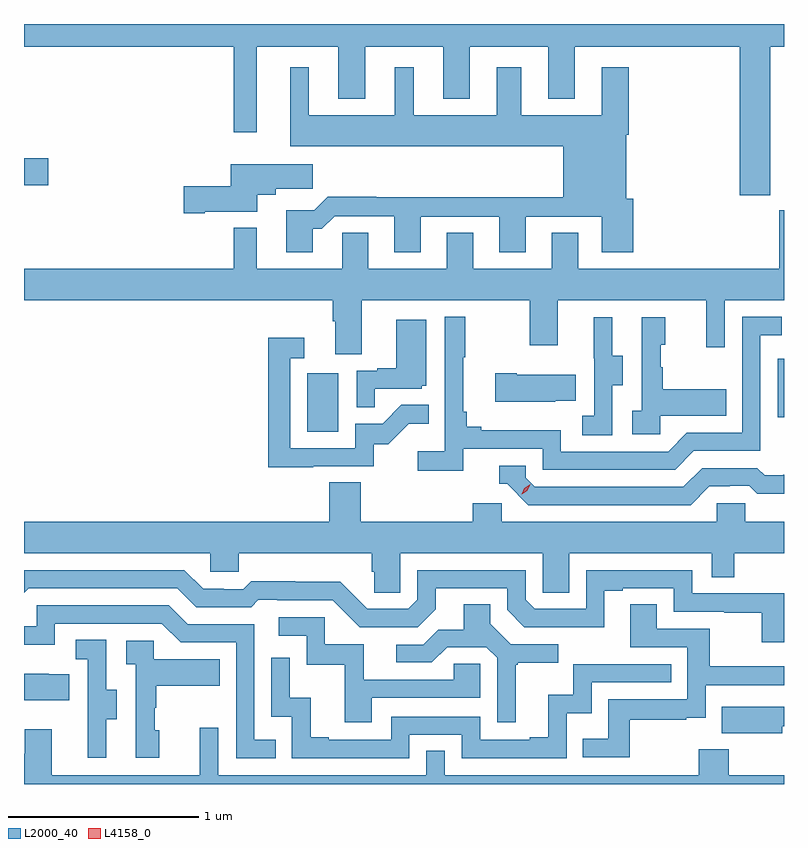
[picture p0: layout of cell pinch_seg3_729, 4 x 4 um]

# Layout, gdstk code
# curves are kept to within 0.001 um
import gdstk
lib = gdstk.Library(unit=1e-6, precision=1e-09)
def R(c, l, rs):  # rectangles x0, y0, x1, y1
    for r in rs: c.add(gdstk.rectangle(r[:2], r[2:], *l))
def P(c, l, *ps):  # polygons
    for p in ps: c.add(gdstk.Polygon(p, *l))
L2000_40 = (2000, 40)
L4158_0 = (4158, 0)

pinch_seg3_729 = lib.new_cell('pinch_seg3_729')
R(pinch_seg3_729, L2000_40, [(868.394,741.516,868.558,741.823), (870.87,741.591,870.904,741.9), (866.904,742.813,867.031,742.955)])
P(pinch_seg3_729, L2000_40, [(870.831,743.54),(870.904,743.54),(870.904,743.661),(866.904,743.661),(866.904,743.54),(868.008,743.54),(868.008,743.091),(868.129,743.091),(868.129,743.54),(868.559,743.54),(868.559,743.267),(868.699,743.267),(868.699,743.54),(869.111,743.54),(869.111,743.267),(869.251,743.267),(869.251,743.54),(869.663,743.54),(869.663,743.267),(869.803,743.267),(869.803,743.54),(870.671,743.54),(870.671,742.761),(870.831,742.761)],
  [(868.423,742.583),(868.472,742.583),(868.539,742.65),(868.853,742.65),(868.853,742.461),(868.993,742.461),(868.993,742.647),(869.405,742.647),(869.405,742.461),(869.545,742.461),(869.545,742.647),(869.945,742.647),(869.945,742.461),(870.11,742.461),(870.11,742.74),(870.073,742.74),(870.073,743.078),(870.086,743.078),(870.086,743.434),(869.945,743.434),(869.945,743.182),(869.521,743.182),(869.521,743.434),(869.393,743.434),(869.393,743.182),(868.954,743.182),(868.954,743.434),(868.856,743.434),(868.856,743.182),(868.402,743.182),(868.402,743.434),(868.304,743.434),(868.304,743.018),(869.741,743.018),(869.741,742.748),(868.757,742.748),(868.757,742.751),(868.502,742.751),(868.432,742.681),(868.283,742.681),(868.283,742.461),(868.423,742.461)],
  [(867.856,742.673),(868.132,742.673),(868.132,742.763),(868.228,742.763),(868.228,742.795),(868.423,742.795),(868.423,742.924),(867.992,742.924),(867.992,742.808),(867.744,742.808),(867.744,742.666),(867.856,742.666)],
  [(870.904,742.681),(870.878,742.681),(870.878,742.372),(869.821,742.372),(869.821,742.562),(869.681,742.562),(869.681,742.372),(869.269,742.372),(869.269,742.562),(869.129,742.562),(869.129,742.372),(868.717,742.372),(868.717,742.562),(868.578,742.562),(868.578,742.372),(868.129,742.372),(868.129,742.588),(868.008,742.588),(868.008,742.372),(866.904,742.372),(866.904,742.208),(868.529,742.208),(868.529,742.096),(868.541,742.096),(868.541,741.922),(868.681,741.922),(868.681,742.208),(869.566,742.208),(869.566,741.969),(869.713,741.969),(869.713,742.208),(870.494,742.208),(870.494,741.96),(870.591,741.96),(870.591,742.208),(870.904,742.208)],
  [(869.216,741.426),(869.634,741.426),(869.634,741.315),(870.331,741.315),(870.43,741.414),(870.78,741.414),(870.78,742.023),(870.893,742.023),(870.893,742.119),(870.684,742.119),(870.684,741.51),(870.393,741.51),(870.294,741.411),(869.73,741.411),(869.73,741.523),(869.311,741.523),(869.311,741.542),(869.234,741.542),(869.234,741.619),(869.215,741.619),(869.215,741.907),(869.227,741.907),(869.227,742.12),(869.118,742.12),(869.118,741.412),(868.977,741.412),(868.977,741.31),(869.216,741.31)],
  [(870,741.76),(870.055,741.76),(870.055,741.915),(870.001,741.915),(870.001,742.117),(869.903,742.117),(869.903,741.903),(869.904,741.903),(869.904,741.599),(869.841,741.599),(869.841,741.496),(870,741.496)],
  [(870.252,741.599),(870.599,741.599),(870.599,741.739),(870.265,741.739),(870.265,741.854),(870.255,741.854),(870.255,741.972),(870.28,741.972),(870.28,742.117),(870.156,742.117),(870.156,741.626),(870.105,741.626),(870.105,741.501),(870.252,741.501)],
  [(868.751,741.741),(868.998,741.741),(868.998,741.756),(869.02,741.756),(869.02,742.105),(868.862,742.105),(868.862,741.85),(868.763,741.85),(868.763,741.837),(868.656,741.837),(868.656,741.643),(868.751,741.643)],
  [(868.427,741.333),(868.746,741.333),(868.746,741.45),(868.822,741.45),(868.929,741.557),(869.033,741.557),(869.033,741.656),(868.889,741.656),(868.791,741.558),(868.647,741.558),(868.647,741.429),(868.305,741.429),(868.305,741.903),(868.378,741.903),(868.378,742.009),(868.189,742.009),(868.189,741.328),(868.427,741.328)],
  [(869.699,741.677),(869.807,741.677),(869.807,741.814),(869.497,741.814),(869.497,741.822),(869.385,741.822),(869.385,741.674),(869.699,741.674)],
  [(870.511,741.228),(870.618,741.228),(870.618,741.231),(870.721,741.231),(870.763,741.189),(870.904,741.189),(870.904,741.288),(870.901,741.288),(870.901,741.285),(870.802,741.285),(870.763,741.324),(870.474,741.324),(870.375,741.225),(869.592,741.225),(869.544,741.273),(869.544,741.336),(869.405,741.336),(869.405,741.24),(869.448,741.24),(869.559,741.129),(870.412,741.129)],
  [(868.884,740.876),(869.634,740.876),(869.634,740.668),(869.773,740.668),(869.773,740.876),(870.525,740.876),(870.525,740.749),(870.641,740.749),(870.641,740.876),(870.904,740.876),(870.904,741.04),(870.699,741.04),(870.699,741.138),(870.549,741.138),(870.549,741.04),(869.418,741.04),(869.418,741.138),(869.267,741.138),(869.267,741.04),(868.676,741.04),(868.676,741.248),(868.511,741.248),(868.511,741.04),(866.904,741.04),(866.904,740.876),(867.885,740.876),(867.885,740.778),(868.035,740.778),(868.035,740.876),(868.733,740.876),(868.733,740.778),(868.747,740.778),(868.747,740.668),(868.884,740.668)],
  [(870.904,740.664),(870.42,740.664),(870.42,740.787),(869.862,740.787),(869.862,740.583),(869.592,740.583),(869.544,740.631),(869.544,740.787),(868.974,740.787),(868.974,740.631),(868.926,740.583),(868.71,740.583),(868.568,740.725),(868.332,740.725),(868.332,740.728),(868.099,740.728),(868.057,740.685),(867.954,740.685),(867.954,740.688),(867.847,740.688),(867.748,740.787),(866.904,740.787),(866.904,740.667),(866.928,740.691),(867.711,740.691),(867.81,740.592),(868.099,740.592),(868.138,740.631),(868.237,740.631),(868.237,740.628),(868.53,740.628),(868.671,740.487),(868.977,740.487),(869.071,740.581),(869.071,740.691),(869.448,740.691),(869.448,740.577),(869.538,740.487),(869.959,740.486),(869.959,740.679),(870.055,740.679),(870.055,740.691),(870.324,740.691),(870.324,740.568),(870.589,740.568),(870.589,740.563),(870.786,740.563),(870.786,740.408),(870.904,740.408)],
  [(870.091,739.998),(870.389,739.998),(870.389,740.009),(870.492,740.009),(870.492,740.181),(870.904,740.181),(870.904,740.282),(870.512,740.282),(870.512,740.478),(870.235,740.478),(870.235,740.606),(870.095,740.606),(870.095,740.382),(870.396,740.382),(870.396,740.106),(869.98,740.106),(869.98,739.9),(869.845,739.9),(869.845,739.803),(870.091,739.803)],
  [(869.491,740.289),(869.503,740.289),(869.503,740.3),(869.716,740.3),(869.716,740.397),(869.466,740.397),(869.359,740.504),(869.359,740.606),(869.219,740.606),(869.219,740.474),(869.084,740.474),(869.004,740.394),(868.863,740.394),(868.863,740.301),(869.05,740.301),(869.131,740.382),(869.337,740.382),(869.394,740.325),(869.394,739.986),(869.491,739.986)],
  [(868.229,739.893),(868.116,739.893),(868.116,740.502),(867.766,740.502),(867.667,740.601),(866.97,740.601),(866.97,740.49),(866.904,740.49),(866.904,740.393),(867.066,740.393),(867.066,740.505),(867.63,740.505),(867.729,740.406),(868.02,740.406),(868.02,739.797),(868.229,739.797)],
  [(868.735,740.115),(869.304,740.115),(869.304,740.295),(869.167,740.295),(869.167,740.211),(868.693,740.211),(868.693,740.397),(868.488,740.397),(868.488,740.538),(868.245,740.538),(868.245,740.442),(868.392,740.442),(868.392,740.289),(868.591,740.289),(868.591,739.986),(868.735,739.986)],
  [(867.337,740.002),(867.391,740.002),(867.391,740.157),(867.336,740.157),(867.336,740.42),(867.177,740.42),(867.177,740.317),(867.24,740.317),(867.24,740.013),(867.239,740.013),(867.239,739.8),(867.337,739.8)],
  [(867.616,739.944),(867.591,739.944),(867.591,740.063),(867.601,740.063),(867.601,740.177),(867.935,740.177),(867.935,740.317),(867.588,740.317),(867.588,740.415),(867.441,740.415),(867.441,740.291),(867.492,740.291),(867.492,739.8),(867.616,739.8)],
  [(868.932,739.92),(869.208,739.92),(869.208,739.797),(869.76,739.797),(869.76,740.033),(869.892,740.033),(869.892,740.196),(870.311,740.196),(870.311,740.292),(869.796,740.292),(869.796,740.131),(869.663,740.131),(869.663,739.906),(869.567,739.906),(869.567,739.893),(869.304,739.893),(869.304,740.016),(868.836,740.016),(868.836,739.893),(868.507,739.893),(868.507,739.906),(868.412,739.906),(868.412,740.114),(868.302,740.114),(868.302,740.326),(868.206,740.326),(868.206,740.016),(868.314,740.016),(868.314,739.797),(868.932,739.797)],
  [(867.143,740.239),(867.035,740.239),(867.035,740.242),(866.904,740.242),(866.904,740.102),(867.143,740.102)],
  [(870.895,739.966),(870.904,739.966),(870.904,740.067),(870.791,740.067),(870.791,740.068),(870.577,740.068),(870.577,739.928),(870.895,739.928)],
  [(869.022,739.835),(869.022,739.708),(867.927,739.708),(867.927,739.957),(867.83,739.957),(867.83,739.708),(867.049,739.708),(867.049,739.948),(866.909,739.948),(866.909,739.82),(866.904,739.82),(866.904,739.661),(870.904,739.661),(870.904,739.708),(870.614,739.708),(870.614,739.843),(870.454,739.843),(870.454,739.708),(869.118,739.708),(869.118,739.835)])
P(pinch_seg3_729, L4158_0, [(869.523,741.185),(869.523,741.186),(869.538,741.218),(869.569,741.238),(869.569,741.238),(869.569,741.238),(869.553,741.205),(869.523,741.185)])

lib.write_gds('pinch_seg3_729.gds')
